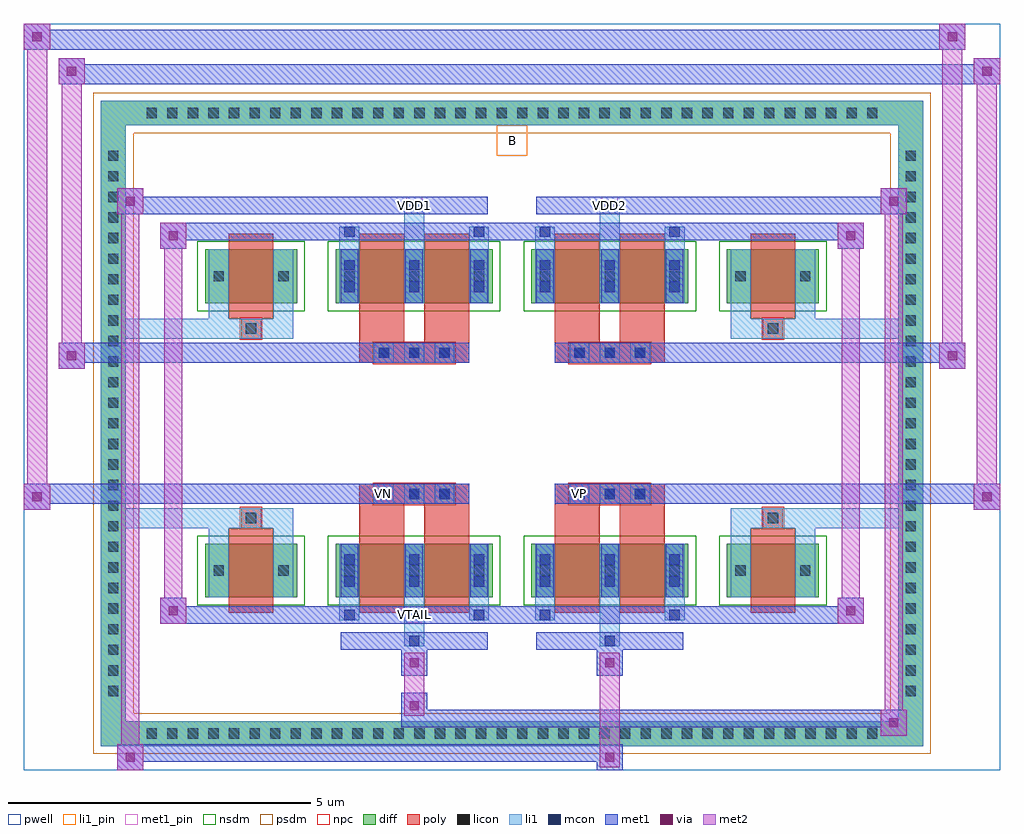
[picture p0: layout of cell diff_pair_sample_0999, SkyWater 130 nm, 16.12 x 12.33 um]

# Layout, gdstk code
import gdstk
lib = gdstk.Library(unit=1e-6, precision=5e-09)
def R(c, l, rs):  # rectangles x0, y0, x1, y1
    for r in rs: c.add(gdstk.rectangle(r[:2], r[2:], *l))
def A(c, l, x, y, w, h, nx, ny, dx, dy):  # array of equal rectangles
    R(c, l, [(x+i*dx, y+j*dy, x+i*dx+w, y+j*dy+h) for i in range(nx) for j in range(ny)])
def P(c, l, *ps):  # polygons
    for p in ps: c.add(gdstk.Polygon(p, *l))
pwell = (64, 44)
diff = (65, 20)
poly = (66, 20)
licon = (66, 44)
li1_pin = (67, 16)
li1 = (67, 20)
mcon = (67, 44)
met1_pin = (68, 16)
met1 = (68, 20)
via = (68, 44)
met2 = (69, 20)
nsdm = (93, 44)
psdm = (94, 20)
npc = (95, 20)

diff_pair_sample_0999 = lib.new_cell('diff_pair_sample_0999')
R(diff_pair_sample_0999, pwell, [(-8.06,-5.73,8.06,6.6), (-5.38,-3.92,-0.01,-0.8), (0.01,-3.92,5.38,-0.8), (-5.38,0.8,-0.01,3.92), (0.01,0.8,5.38,3.92)])
A(diff_pair_sample_0999, diff, -6.155, -5.33, 0.41, 0.41, 36, 2, 0.34, 10.25)
A(diff_pair_sample_0999, diff, -6.79, -4.625, 0.41, 0.41, 1, 27, 0, 0.34)
A(diff_pair_sample_0999, diff, 6.38, -4.625, 0.41, 0.41, 1, 27, 0, 0.34)
R(diff_pair_sample_0999, diff, [(-6.155,-5.33,6.155,-4.92), (-6.79,-4.625,-6.38,4.625), (6.38,-4.625,6.79,4.625), (-5.07,-2.875,-3.55,-1.985), (-2.91,-2.875,-0.32,-1.985), (0.32,-2.875,2.91,-1.985), (3.55,-2.875,5.07,-1.985), (-5.07,1.985,-3.55,2.875), (-2.91,1.985,-0.32,2.875), (0.32,1.985,2.91,2.875), (3.55,1.985,5.07,2.875), (-6.155,4.92,6.155,5.33)])
P(diff_pair_sample_0999, diff, [(6.79,5.33),(-6.79,5.33),(-6.79,-4.92),(-6.38,-4.92),(-6.38,4.92),(6.38,4.92),(6.38,-4.92),(-6.38,-4.92),(-6.79,-4.92),(-6.79,-5.33),(6.79,-5.33)])
A(diff_pair_sample_0999, poly, -2.28, -1.33, 0.33, 0.33, 3, 2, 0.5, 2.33)
A(diff_pair_sample_0999, poly, 0.95, -1.33, 0.33, 0.33, 3, 2, 0.5, 2.33)
R(diff_pair_sample_0999, poly, [(-4.68,-3.13,-3.94,-1.73), (-2.52,-3.13,-1.78,-1.73), (-1.45,-3.13,-0.71,-1.73), (0.71,-3.13,1.45,-1.73), (1.78,-3.13,2.52,-1.73), (3.94,-3.13,4.68,-1.73), (-4.475,-1.73,-4.145,-1.4), (-4.475,-1.73,-4.145,-1.4), (-2.52,-1.73,-1.78,-1.33), (-1.45,-1.73,-0.71,-1.33), (0.71,-1.73,1.45,-1.33), (1.78,-1.73,2.52,-1.33), (4.145,-1.73,4.475,-1.4), (4.145,-1.73,4.475,-1.4), (-2.52,-1.33,-0.71,-1), (0.71,-1.33,2.52,-1), (-2.52,1,-0.71,1.33), (0.71,1,2.52,1.33), (-2.52,1.33,-1.78,1.73), (-1.45,1.33,-0.71,1.73), (0.71,1.33,1.45,1.73), (1.78,1.33,2.52,1.73), (-4.475,1.4,-4.145,1.73), (-4.475,1.4,-4.145,1.73), (4.145,1.4,4.475,1.73), (4.145,1.4,4.475,1.73), (-4.68,1.73,-3.94,3.13), (-2.52,1.73,-1.78,3.13), (-1.45,1.73,-0.71,3.13), (0.71,1.73,1.45,3.13), (1.78,1.73,2.52,3.13), (3.94,1.73,4.68,3.13)])
A(diff_pair_sample_0999, licon, -6.035, -5.21, 0.17, 0.17, 36, 2, 0.34, 10.25)
A(diff_pair_sample_0999, licon, -6.67, -4.505, 0.17, 0.17, 1, 27, 0, 0.34)
A(diff_pair_sample_0999, licon, 6.5, -4.505, 0.17, 0.17, 1, 27, 0, 0.34)
A(diff_pair_sample_0999, licon, -2.77, -2.515, 0.17, 0.17, 3, 2, 1.07, 4.86)
A(diff_pair_sample_0999, licon, 0.46, -2.515, 0.17, 0.17, 3, 2, 1.07, 4.86)
A(diff_pair_sample_0999, licon, -2.2, -1.25, 0.17, 0.17, 3, 2, 0.5, 2.33)
A(diff_pair_sample_0999, licon, 1.03, -1.25, 0.17, 0.17, 3, 2, 0.5, 2.33)
R(diff_pair_sample_0999, licon, [(-4.93,-2.515,-4.76,-2.345), (-3.86,-2.515,-3.69,-2.345), (3.69,-2.515,3.86,-2.345), (4.76,-2.515,4.93,-2.345), (-4.395,-1.65,-4.225,-1.48), (4.225,-1.65,4.395,-1.48), (-4.395,1.48,-4.225,1.65), (4.225,1.48,4.395,1.65), (-4.93,2.345,-4.76,2.515), (-3.86,2.345,-3.69,2.515), (3.69,2.345,3.86,2.515), (4.76,2.345,4.93,2.515)])
R(diff_pair_sample_0999, li1_pin, [(-0.25,4.42,0.25,4.92)])
A(diff_pair_sample_0999, li1, -6.115, -5.29, 0.33, 0.33, 36, 2, 0.34, 10.25)
A(diff_pair_sample_0999, li1, -6.75, -4.585, 0.33, 0.33, 1, 27, 0, 0.34)
A(diff_pair_sample_0999, li1, 6.42, -4.585, 0.33, 0.33, 1, 27, 0, 0.34)
A(diff_pair_sample_0999, li1, -2.85, -2.875, 0.33, 0.89, 3, 2, 1.07, 4.86)
A(diff_pair_sample_0999, li1, 0.38, -2.875, 0.33, 0.89, 3, 2, 1.07, 4.86)
A(diff_pair_sample_0999, li1, -2.77, -2.695, 0.17, 0.17, 3, 2, 1.07, 0.36)
A(diff_pair_sample_0999, li1, -2.77, -2.695, 0.17, 0.53, 3, 2, 1.07, 4.86)
A(diff_pair_sample_0999, li1, 0.46, -2.695, 0.17, 0.17, 3, 2, 1.07, 0.36)
A(diff_pair_sample_0999, li1, 0.46, -2.695, 0.17, 0.53, 3, 2, 1.07, 4.86)
A(diff_pair_sample_0999, li1, -2.85, -2.595, 0.33, 0.33, 3, 2, 1.07, 4.86)
A(diff_pair_sample_0999, li1, 0.38, -2.595, 0.33, 0.33, 3, 2, 1.07, 4.86)
A(diff_pair_sample_0999, li1, -2.28, -1.33, 0.33, 0.33, 3, 2, 0.5, 2.33)
A(diff_pair_sample_0999, li1, 0.95, -1.33, 0.33, 0.33, 3, 2, 0.5, 2.33)
A(diff_pair_sample_0999, li1, -2.77, 2.165, 0.17, 0.17, 3, 2, 1.07, 0.36)
A(diff_pair_sample_0999, li1, 0.46, 2.165, 0.17, 0.17, 3, 2, 1.07, 0.36)
R(diff_pair_sample_0999, li1, [(-6.79,-5.33,-6.38,-4.92), (-6.79,-5.33,-6.38,-4.92), (-6.38,-5.33,6.38,-4.92), (6.38,-5.33,6.79,-4.92), (6.38,-5.33,6.79,-4.92), (-6.79,-4.92,-6.38,4.92), (6.38,-4.92,6.79,4.92), (-1.78,-3.68,-1.45,-2.875), (-1.7,-3.68,-1.53,-3.51), (1.45,-3.68,1.78,-2.875), (1.53,-3.68,1.7,-3.51), (-2.85,-3.25,-2.52,-2.875), (-2.77,-3.25,-2.6,-3.08), (-0.71,-3.25,-0.38,-2.875), (-0.63,-3.25,-0.46,-3.08), (0.38,-3.25,0.71,-2.875), (0.46,-3.25,0.63,-3.08), (2.52,-3.25,2.85,-2.875), (2.6,-3.25,2.77,-3.08), (-5.01,-2.875,-4.68,-1.985), (-3.94,-2.875,-3.61,-1.985), (3.61,-2.875,3.94,-1.985), (4.68,-2.875,5.01,-1.985), (-5.01,-2.595,-4.68,-2.265), (-3.94,-2.595,-3.61,-2.265), (3.61,-2.595,3.94,-2.265), (4.68,-2.595,5.01,-2.265), (-5.01,-1.985,-4.68,-1.4), (-3.94,-1.985,-3.61,-1.4), (3.61,-1.985,3.94,-1.4), (4.68,-1.985,5.01,-1.4), (-6.79,-1.73,-4.475,-1.4), (-5.01,-1.73,-4.475,-1.4), (-4.475,-1.73,-4.145,-1.4), (-4.145,-1.73,-3.61,-1.4), (3.61,-1.73,4.145,-1.4), (4.145,-1.73,4.475,-1.4), (4.145,-1.73,6.79,-1.4), (4.475,-1.73,5.01,-1.4), (-6.79,1.4,-4.475,1.73), (-5.01,1.4,-4.475,1.73), (-5.01,1.4,-4.68,1.985), (-4.475,1.4,-4.145,1.73), (-4.145,1.4,-3.61,1.73), (-3.94,1.4,-3.61,1.985), (3.61,1.4,4.145,1.73), (3.61,1.4,3.94,1.985), (4.145,1.4,4.475,1.73), (4.145,1.4,6.79,1.73), (4.475,1.4,5.01,1.73), (4.68,1.4,5.01,1.985), (-5.01,1.985,-4.68,2.875), (-3.94,1.985,-3.61,2.875), (3.61,1.985,3.94,2.875), (4.68,1.985,5.01,2.875), (-5.01,2.265,-4.68,2.595), (-3.94,2.265,-3.61,2.595), (3.61,2.265,3.94,2.595), (4.68,2.265,5.01,2.595), (-2.85,2.875,-2.52,3.25), (-1.78,2.875,-1.45,3.68), (-0.71,2.875,-0.38,3.25), (0.38,2.875,0.71,3.25), (1.45,2.875,1.78,3.68), (2.52,2.875,2.85,3.25), (-2.77,3.08,-2.6,3.25), (-0.63,3.08,-0.46,3.25), (0.46,3.08,0.63,3.25), (2.6,3.08,2.77,3.25), (-1.7,3.51,-1.53,3.68), (1.53,3.51,1.7,3.68), (-6.79,4.92,-6.38,5.33), (-6.79,4.92,-6.38,5.33), (-6.38,4.92,6.38,5.33), (6.38,4.92,6.79,5.33), (6.38,4.92,6.79,5.33)])
A(diff_pair_sample_0999, mcon, -2.77, -2.695, 0.17, 0.17, 3, 2, 1.07, 0.36)
A(diff_pair_sample_0999, mcon, 0.46, -2.695, 0.17, 0.17, 3, 2, 1.07, 0.36)
A(diff_pair_sample_0999, mcon, -2.2, -1.25, 0.17, 0.17, 3, 2, 0.5, 2.33)
A(diff_pair_sample_0999, mcon, 1.03, -1.25, 0.17, 0.17, 3, 2, 0.5, 2.33)
A(diff_pair_sample_0999, mcon, -2.77, 2.165, 0.17, 0.17, 3, 2, 1.07, 0.36)
A(diff_pair_sample_0999, mcon, 0.46, 2.165, 0.17, 0.17, 3, 2, 1.07, 0.36)
R(diff_pair_sample_0999, mcon, [(-1.7,-3.68,-1.53,-3.51), (1.53,-3.68,1.7,-3.51), (-2.77,-3.25,-2.6,-3.08), (-0.63,-3.25,-0.46,-3.08), (0.46,-3.25,0.63,-3.08), (2.6,-3.25,2.77,-3.08), (-2.77,3.08,-2.6,3.25), (-0.63,3.08,-0.46,3.25), (0.46,3.08,0.63,3.25), (2.6,3.08,2.77,3.25), (-1.7,3.51,-1.53,3.68), (1.53,3.51,1.7,3.68)])
R(diff_pair_sample_0999, met1_pin, [(-1.75,-3.29,-1.48,-3.02), (-2.25,-1.29,-1.98,-1.02), (0.98,-1.29,1.25,-1.02), (-1.75,3.47,-1.48,3.74), (1.48,3.47,1.75,3.74)])
A(diff_pair_sample_0999, met1, -2.83, -2.875, 0.29, 0.89, 3, 2, 1.07, 4.86)
A(diff_pair_sample_0999, met1, 0.4, -2.875, 0.29, 0.89, 3, 2, 1.07, 4.86)
A(diff_pair_sample_0999, met1, -2.83, -2.755, 0.29, 0.29, 3, 2, 1.07, 0.36)
A(diff_pair_sample_0999, met1, 0.4, -2.755, 0.29, 0.29, 3, 2, 1.07, 0.36)
A(diff_pair_sample_0999, met1, -2.26, -1.31, 0.29, 0.29, 3, 2, 0.5, 2.33)
A(diff_pair_sample_0999, met1, 0.97, -1.31, 0.29, 0.29, 3, 2, 0.5, 2.33)
A(diff_pair_sample_0999, met1, -2.83, 2.105, 0.29, 0.29, 3, 2, 1.07, 0.36)
A(diff_pair_sample_0999, met1, 0.4, 2.105, 0.29, 0.29, 3, 2, 1.07, 0.36)
R(diff_pair_sample_0999, met1, [(-6.52,-5.73,-6.09,-5.3), (1.4,-5.73,1.83,-5.3), (-6.52,-5.59,1.83,-5.3), (6.09,-5.16,6.52,-4.73), (-1.83,-5.02,6.52,-4.73), (-1.83,-4.88,-1.4,-4.45), (-1.83,-4.17,-1.4,-3.74), (1.4,-4.17,1.83,-3.74), (-2.83,-3.74,-0.4,-3.45), (-1.76,-3.74,-1.47,-3.45), (0.4,-3.74,2.83,-3.45), (1.47,-3.74,1.76,-3.45), (-5.81,-3.31,-5.38,-2.88), (-5.81,-3.31,-2.83,-3.02), (-2.83,-3.31,-2.54,-3.02), (-2.83,-3.31,-0.4,-3.02), (-0.69,-3.31,-0.4,-3.02), (-0.4,-3.31,0.4,-3.02), (0.4,-3.31,0.69,-3.02), (0.4,-3.31,2.83,-3.02), (2.54,-3.31,2.83,-3.02), (2.83,-3.31,5.81,-3.02), (5.38,-3.31,5.81,-2.88), (-8.06,-1.43,-7.63,-1), (7.63,-1.43,8.06,-1), (-8.06,-1.33,-0.71,-1), (-2.52,-1.33,-0.71,-1), (0.71,-1.33,2.52,-1), (0.71,-1.33,8.06,-1), (-7.49,0.9,-7.06,1.33), (7.06,0.9,7.49,1.33), (-7.49,1,-2.52,1.33), (-2.52,1,-0.71,1.33), (0.71,1,2.52,1.33), (2.52,1,7.49,1.33), (-5.81,2.88,-5.38,3.31), (5.38,2.88,5.81,3.31), (-5.81,3.02,-2.83,3.31), (-2.83,3.02,-2.54,3.31), (-2.83,3.02,-0.4,3.31), (-0.69,3.02,-0.4,3.31), (-0.4,3.02,0.4,3.31), (0.4,3.02,0.69,3.31), (0.4,3.02,2.83,3.31), (2.54,3.02,2.83,3.31), (2.83,3.02,5.81,3.31), (-6.52,3.45,-6.09,3.88), (-6.52,3.45,-2.83,3.74), (-2.83,3.45,-0.4,3.74), (-1.76,3.45,-1.47,3.74), (0.4,3.45,2.83,3.74), (1.47,3.45,1.76,3.74), (2.83,3.45,6.52,3.74), (6.09,3.45,6.52,3.88), (-7.49,5.6,-7.06,6.03), (-7.49,5.6,-5.38,5.93), (-5.38,5.6,5.38,5.93), (5.38,5.6,8.06,5.93), (7.63,5.6,8.06,6.03), (-8.06,6.17,-7.63,6.6), (-8.06,6.17,-5.38,6.5), (-5.38,6.17,5.38,6.5), (5.38,6.17,7.49,6.5), (7.06,6.17,7.49,6.6)])
R(diff_pair_sample_0999, via, [(-6.38,-5.59,-6.23,-5.44), (1.54,-5.59,1.69,-5.44), (6.23,-5.02,6.38,-4.87), (-1.69,-4.74,-1.54,-4.59), (-1.69,-4.03,-1.54,-3.88), (1.54,-4.03,1.69,-3.88), (-5.67,-3.17,-5.52,-3.02), (5.52,-3.17,5.67,-3.02), (-7.92,-1.29,-7.77,-1.14), (7.77,-1.29,7.92,-1.14), (-7.35,1.04,-7.2,1.19), (7.2,1.04,7.35,1.19), (-5.67,3.02,-5.52,3.17), (5.52,3.02,5.67,3.17), (-6.38,3.59,-6.23,3.74), (6.23,3.59,6.38,3.74), (-7.35,5.74,-7.2,5.89), (7.77,5.74,7.92,5.89), (-7.92,6.31,-7.77,6.46), (7.2,6.31,7.35,6.46)])
R(diff_pair_sample_0999, met2, [(-6.52,-5.73,-6.09,-5.3), (-6.45,-5.73,-6.16,3.88), (-6.16,-5.73,-6.09,-5.3), (-6.47,-5.68,-6.14,-5.35), (1.45,-5.68,1.78,-5.35), (1.45,-5.35,1.78,-4.12), (6.09,-5.16,6.52,-4.73), (6.16,-5.16,6.45,3.88), (6.45,-5.16,6.52,-4.73), (6.14,-5.11,6.47,-4.78), (-1.78,-4.83,-1.45,-4.5), (-1.78,-4.5,-1.45,-4.12), (-1.78,-4.12,-1.45,-3.79), (1.45,-4.12,1.78,-3.79), (-5.81,-3.31,-5.38,-2.88), (-5.74,-3.31,-5.45,3.31), (-5.45,-3.31,-5.38,-2.88), (5.38,-3.31,5.81,-2.88), (5.45,-3.31,5.74,3.31), (5.74,-3.31,5.81,-2.88), (-5.76,-3.26,-5.43,-2.93), (5.43,-3.26,5.76,-2.93), (-8.06,-1.43,-7.63,-1), (-8.01,-1.43,-7.68,6.6), (-7.68,-1.43,-7.63,-1), (7.63,-1.43,8.06,-1), (7.68,-1.43,8.01,6.03), (8.01,-1.43,8.06,-1), (-8.01,-1.38,-7.68,-1.05), (7.68,-1.38,8.01,-1.05), (-7.49,0.9,-7.06,1.33), (-7.44,0.9,-7.11,6.03), (-7.11,0.9,-7.06,1.33), (7.06,0.9,7.49,1.33), (7.11,0.9,7.44,6.6), (7.44,0.9,7.49,1.33), (-7.44,0.95,-7.11,1.28), (7.11,0.95,7.44,1.28), (-5.81,2.88,-5.38,3.31), (-5.45,2.88,-5.38,3.31), (5.38,2.88,5.81,3.31), (5.74,2.88,5.81,3.31), (-5.76,2.93,-5.43,3.26), (5.43,2.93,5.76,3.26), (-6.52,3.45,-6.09,3.88), (-6.16,3.45,-6.09,3.88), (6.09,3.45,6.52,3.88), (6.45,3.45,6.52,3.88), (-6.47,3.5,-6.14,3.83), (6.14,3.5,6.47,3.83), (-7.49,5.6,-7.06,6.03), (-7.11,5.6,-7.06,6.03), (7.63,5.6,8.06,6.03), (8.01,5.6,8.06,6.03), (-7.44,5.65,-7.11,5.98), (7.68,5.65,8.01,5.98), (-8.06,6.17,-7.63,6.6), (-7.68,6.17,-7.63,6.6), (7.06,6.17,7.49,6.6), (7.44,6.17,7.49,6.6), (-8.01,6.22,-7.68,6.55), (7.11,6.22,7.44,6.55)])
R(diff_pair_sample_0999, nsdm, [(-5.2,-3.005,-3.42,-1.855), (-3.04,-3.005,-0.19,-1.855), (0.19,-3.005,3.04,-1.855), (3.42,-3.005,5.2,-1.855), (-5.2,1.855,-3.42,3.005), (-3.04,1.855,-0.19,3.005), (0.19,1.855,3.04,3.005), (3.42,1.855,5.2,3.005)])
P(diff_pair_sample_0999, psdm, [(6.92,5.46),(-6.92,5.46),(-6.92,-4.79),(-6.25,-4.79),(-6.25,4.79),(6.25,4.79),(6.25,-4.79),(-6.25,-4.79),(-6.92,-4.79),(-6.92,-5.46),(6.92,-5.46)])
A(diff_pair_sample_0999, npc, -2.3, -1.35, 0.37, 0.37, 3, 2, 0.5, 2.33)
A(diff_pair_sample_0999, npc, 0.93, -1.35, 0.37, 0.37, 3, 2, 0.5, 2.33)
R(diff_pair_sample_0999, npc, [(-4.495,-1.75,-4.125,-1.38), (4.125,-1.75,4.495,-1.38), (-2.3,-1.35,-1.43,-0.98), (-2.3,-1.35,-1.43,-0.98), (-1.8,-1.35,-0.93,-0.98), (-1.8,-1.35,-0.93,-0.98), (0.93,-1.35,1.8,-0.98), (0.93,-1.35,1.8,-0.98), (1.43,-1.35,2.3,-0.98), (1.43,-1.35,2.3,-0.98), (-2.3,0.98,-1.43,1.35), (-2.3,0.98,-1.43,1.35), (-1.8,0.98,-0.93,1.35), (-1.8,0.98,-0.93,1.35), (0.93,0.98,1.8,1.35), (0.93,0.98,1.8,1.35), (1.43,0.98,2.3,1.35), (1.43,0.98,2.3,1.35), (-4.495,1.38,-4.125,1.75), (4.125,1.38,4.495,1.75)])
diff_pair_sample_0999.add(gdstk.Label('VTAIL', (-1.615,-3.155), layer=68, texttype=5))
diff_pair_sample_0999.add(gdstk.Label('VN', (-2.115,-1.155), layer=68, texttype=5))
diff_pair_sample_0999.add(gdstk.Label('VP', (1.115,-1.155), layer=68, texttype=5))
diff_pair_sample_0999.add(gdstk.Label('B', (0,4.67), layer=67, texttype=5))
diff_pair_sample_0999.add(gdstk.Label('VDD2', (1.615,3.605), layer=68, texttype=5))
diff_pair_sample_0999.add(gdstk.Label('VDD1', (-1.615,3.605), layer=68, texttype=5))

lib.write_gds('diff_pair_sample_0999.gds')
